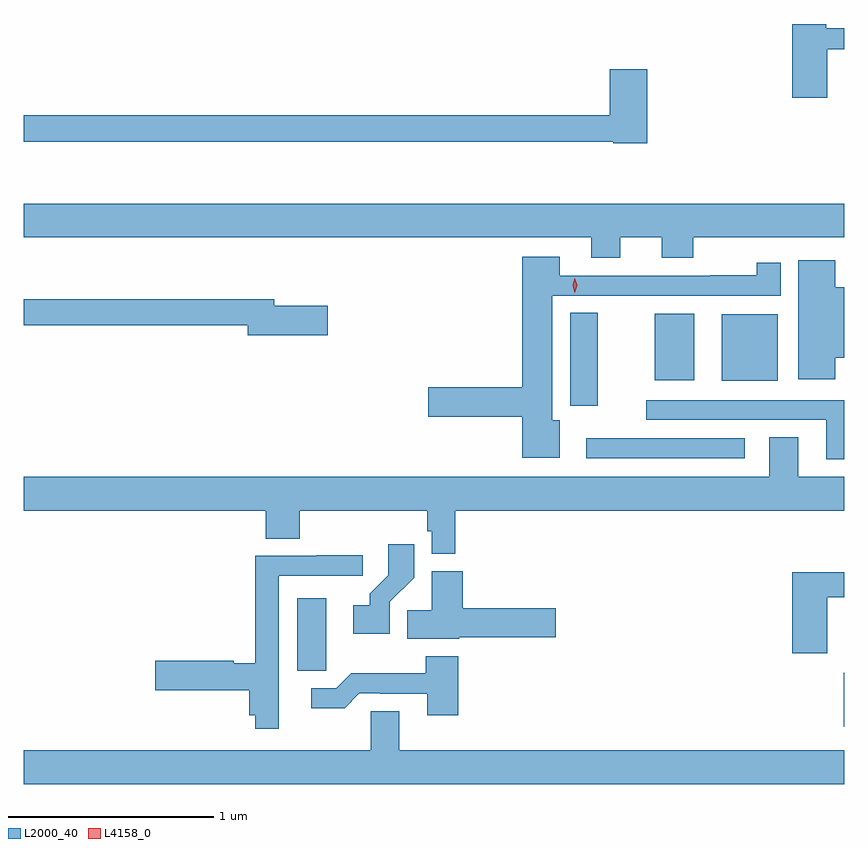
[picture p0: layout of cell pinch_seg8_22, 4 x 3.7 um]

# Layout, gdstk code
import gdstk
lib = gdstk.Library(unit=1e-6, precision=1e-09)
def R(c, l, rs):  # rectangles x0, y0, x1, y1
    for r in rs: c.add(gdstk.rectangle(r[:2], r[2:], *l))
def P(c, l, *ps):  # polygons
    for p in ps: c.add(gdstk.Polygon(p, *l))
L2000_40 = (2000, 40)
L4158_0 = (4158, 0)

pinch_seg8_22 = lib.new_cell('pinch_seg8_22')
R(pinch_seg8_22, L2000_40, [(1021.616,1132.763,1021.619,1133.026), (1020.36,1134.072,1021.132,1134.168), (1020.284,1134.327,1020.418,1134.779), (1021.022,1134.449,1021.294,1134.772), (1020.695,1134.452,1020.886,1134.775)])
P(pinch_seg8_22, L2000_40, [(1021.534,1136.065),(1021.619,1136.065),(1021.619,1136.166),(1021.53,1136.166),(1021.53,1136.187),(1021.364,1136.187),(1021.364,1135.827),(1021.534,1135.827)],
  [(1020.659,1135.966),(1020.476,1135.966),(1020.476,1135.742),(1017.619,1135.742),(1017.619,1135.614),(1020.492,1135.614),(1020.492,1135.606),(1020.659,1135.606)],
  [(1020.526,1135.148),(1020.728,1135.148),(1020.728,1135.049),(1020.881,1135.049),(1020.881,1135.148),(1021.619,1135.148),(1021.619,1135.312),(1017.619,1135.312),(1017.619,1135.148),(1020.386,1135.148),(1020.386,1135.049),(1020.526,1135.049)],
  [(1020.232,1134.256),(1020.196,1134.256),(1020.196,1134.864),(1021.309,1134.864),(1021.309,1135.024),(1021.192,1135.024),(1021.192,1134.962),(1020.964,1134.962),(1020.964,1134.96),(1020.232,1134.96),(1020.232,1135.054),(1020.05,1135.054),(1020.05,1134.416),(1019.592,1134.416),(1019.592,1134.274),(1020.05,1134.274),(1020.05,1134.074),(1020.232,1134.074)],
  [(1021.573,1134.56),(1021.619,1134.56),(1021.619,1134.904),(1021.573,1134.904),(1021.573,1135.036),(1021.394,1135.036),(1021.394,1134.455),(1021.573,1134.455)],
  [(1019.101,1134.813),(1018.84,1134.813),(1018.84,1134.847),(1017.619,1134.847),(1017.619,1134.718),(1018.712,1134.718),(1018.712,1134.671),(1019.101,1134.671)],
  [(1021.619,1134.354),(1020.654,1134.354),(1020.654,1134.258),(1021.529,1134.258),(1021.529,1134.066),(1021.619,1134.066)],
  [(1019.723,1133.816),(1021.619,1133.816),(1021.619,1133.98),(1021.393,1133.98),(1021.393,1134.173),(1021.253,1134.173),(1021.253,1133.98),(1017.619,1133.98),(1017.619,1133.816),(1018.799,1133.816),(1018.799,1133.68),(1018.964,1133.68),(1018.964,1133.816),(1019.587,1133.816),(1019.587,1133.715),(1019.607,1133.715),(1019.607,1133.606),(1019.723,1133.606)],
  [(1019.403,1133.371),(1019.522,1133.49),(1019.522,1133.653),(1019.397,1133.653),(1019.397,1133.501),(1019.306,1133.411),(1019.306,1133.356),(1019.226,1133.356),(1019.226,1133.216),(1019.403,1133.216)],
  [(1018.863,1133.499),(1019.272,1133.499),(1019.272,1133.598),(1019.047,1133.598),(1019.047,1133.595),(1018.747,1133.595),(1018.747,1133.072),(1018.644,1133.072),(1018.644,1133.084),(1018.26,1133.084),(1018.26,1132.942),(1018.718,1132.942),(1018.718,1132.82),(1018.747,1132.82),(1018.747,1132.752),(1018.863,1132.752)],
  [(1019.742,1133.198),(1020.211,1133.198),(1020.211,1133.34),(1019.759,1133.34),(1019.759,1133.521),(1019.609,1133.521),(1019.609,1133.33),(1019.488,1133.33),(1019.488,1133.192),(1019.742,1133.192)],
  [(1021.534,1133.394),(1021.619,1133.394),(1021.619,1133.515),(1021.364,1133.515),(1021.364,1133.121),(1021.534,1133.121)],
  [(1019.094,1133.146),(1019.095,1133.146),(1019.095,1133.389),(1018.952,1133.389),(1018.952,1133.035),(1019.094,1133.035)],
  [(1019.738,1133.107),(1019.578,1133.107),(1019.578,1133.023),(1019.215,1133.023),(1019.142,1132.95),(1019.022,1132.95),(1019.022,1132.853),(1019.183,1132.853),(1019.256,1132.926),(1019.356,1132.926),(1019.356,1132.923),(1019.585,1132.923),(1019.585,1132.818),(1019.738,1132.818)],
  [(1021.619,1132.648),(1019.449,1132.648),(1019.449,1132.838),(1019.31,1132.838),(1019.31,1132.648),(1017.619,1132.648),(1017.619,1132.484),(1021.619,1132.484)])
P(pinch_seg8_22, L4158_0, [(1020.305,1134.877),(1020.296,1134.913),(1020.306,1134.949),(1020.306,1134.949),(1020.306,1134.949),(1020.316,1134.913),(1020.306,1134.877),(1020.306,1134.877)])

lib.write_gds('pinch_seg8_22.gds')
